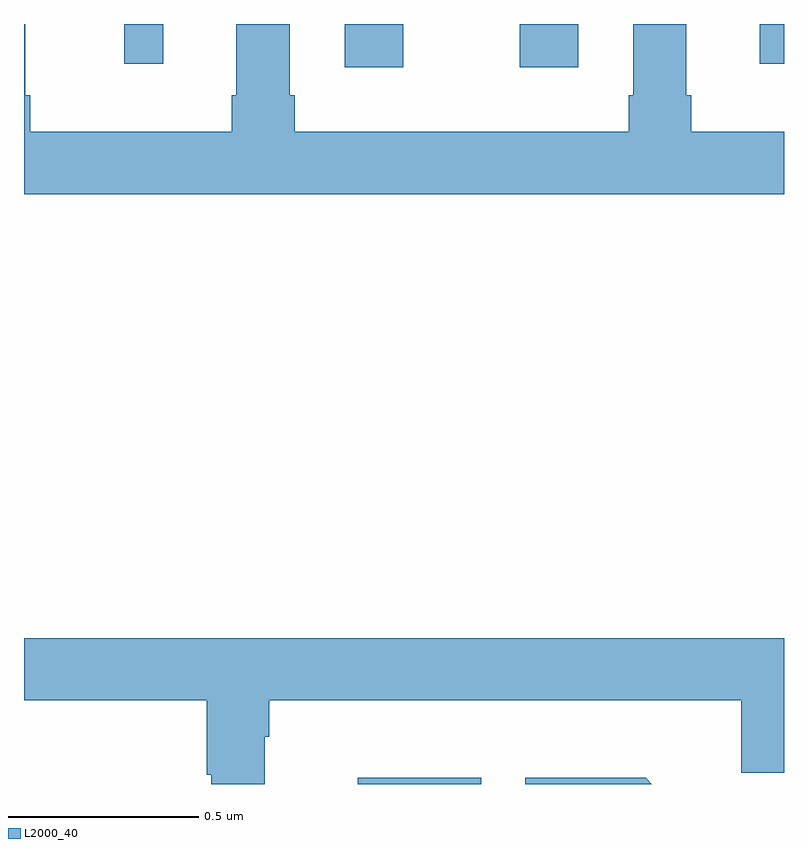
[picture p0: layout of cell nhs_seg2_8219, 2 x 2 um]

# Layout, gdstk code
import gdstk
lib = gdstk.Library(unit=1e-6, precision=1e-09)
def R(c, l, rs):  # rectangles x0, y0, x1, y1
    for r in rs: c.add(gdstk.rectangle(r[:2], r[2:], *l))
def P(c, l, *ps):  # polygons
    for p in ps: c.add(gdstk.Polygon(p, *l))
L2000_40 = (2000, 40)

nhs_seg2_8219 = lib.new_cell('nhs_seg2_8219')
R(nhs_seg2_8219, L2000_40, [(214.878,596.8,215.203,596.816), (214.844,598.686,214.998,598.8), (215.305,598.686,215.458,598.8), (214.264,598.695,214.367,598.8), (215.936,598.695,216,598.8)])
P(nhs_seg2_8219, L2000_40, [(216,598.516),(215.756,598.516),(215.756,598.612),(215.743,598.612),(215.743,598.8),(215.603,598.8),(215.603,598.612),(215.591,598.612),(215.591,598.516),(214.712,598.516),(214.712,598.612),(214.699,598.612),(214.699,598.8),(214.559,598.8),(214.559,598.612),(214.547,598.612),(214.547,598.516),(214.016,598.516),(214.016,598.612),(214.003,598.612),(214.003,598.8),(214,598.8),(214,598.352),(216,598.352)],
  [(214.633,596.924),(214.646,596.924),(214.646,597.02),(215.888,597.02),(215.888,596.83),(216,596.83),(216,597.184),(214,597.184),(214,597.02),(214.481,597.02),(214.481,596.824),(214.493,596.824),(214.493,596.8),(214.633,596.8)],
  [(215.636,596.816),(215.319,596.816),(215.319,596.8),(215.652,596.8)])

lib.write_gds('nhs_seg2_8219.gds')
